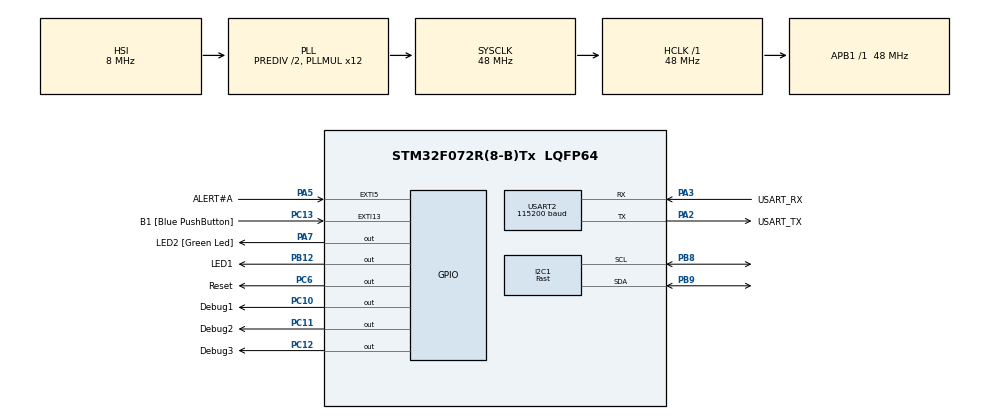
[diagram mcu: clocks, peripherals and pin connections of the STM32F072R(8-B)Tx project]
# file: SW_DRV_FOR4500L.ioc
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Dma.I2C1_RX.1.Direction=DMA_PERIPH_TO_MEMORY
Dma.I2C1_RX.1.Instance=DMA1_Channel3
Dma.I2C1_RX.1.MemDataAlignment=DMA_MDATAALIGN_BYTE
Dma.I2C1_RX.1.MemInc=DMA_MINC_ENABLE
Dma.I2C1_RX.1.Mode=DMA_NORMAL
Dma.I2C1_RX.1.PeriphDataAlignment=DMA_PDATAALIGN_BYTE
Dma.I2C1_RX.1.PeriphInc=DMA_PINC_DISABLE
Dma.I2C1_RX.1.Priority=DMA_PRIORITY_LOW
Dma.I2C1_TX.2.Direction=DMA_MEMORY_TO_PERIPH
Dma.I2C1_TX.2.Instance=DMA1_Channel2
Dma.I2C1_TX.2.MemDataAlignment=DMA_MDATAALIGN_BYTE
Dma.I2C1_TX.2.MemInc=DMA_MINC_ENABLE
Dma.I2C1_TX.2.Mode=DMA_NORMAL
Dma.I2C1_TX.2.PeriphDataAlignment=DMA_PDATAALIGN_BYTE
Dma.I2C1_TX.2.PeriphInc=DMA_PINC_DISABLE
Dma.I2C1_TX.2.Priority=DMA_PRIORITY_LOW
Dma.Request0=USART2_TX
Dma.Request1=I2C1_RX
Dma.Request2=I2C1_TX
Dma.USART2_TX.0.Direction=DMA_MEMORY_TO_PERIPH
Dma.USART2_TX.0.Instance=DMA1_Channel4
Dma.USART2_TX.0.MemDataAlignment=DMA_MDATAALIGN_BYTE
Dma.USART2_TX.0.MemInc=DMA_MINC_ENABLE
Dma.USART2_TX.0.Mode=DMA_NORMAL
Dma.USART2_TX.0.PeriphDataAlignment=DMA_PDATAALIGN_BYTE
Dma.USART2_TX.0.PeriphInc=DMA_PINC_DISABLE
Dma.USART2_TX.0.Priority=DMA_PRIORITY_LOW
I2C1.I2C_Speed_Mode=I2C_Fast
I2C1.Timing=0x0000020B
Mcu.Family=STM32F0
Mcu.Name=STM32F072R(8-B)Tx
Mcu.Package=LQFP64
NVIC.DMA1_Channel2_3_IRQn=true\:1\:0\:true\:false\:true\:false\:true
NVIC.DMA1_Channel4_5_6_7_IRQn=true\:0\:0\:false\:false\:true\:true\:true
NVIC.EXTI4_15_IRQn=true\:2\:0\:true\:false\:true\:true\:true
NVIC.I2C1_IRQn=true\:0\:0\:false\:false\:true\:true\:true
NVIC.TIM1_BRK_UP_TRG_COM_IRQn=true\:0\:0\:false\:false\:true\:true\:true
NVIC.TimeBase=TIM1_BRK_UP_TRG_COM_IRQn
NVIC.TimeBaseIP=TIM1
NVIC.USART2_IRQn=true\:0\:0\:false\:false\:true\:true\:true
PA13.GPIO_Label=TMS
PA13.Mode=Serial_Wire
PA13.Signal=SYS_SWDIO
PA14.GPIO_Label=TCK
PA14.Mode=Serial_Wire
PA14.Signal=SYS_SWCLK
PA2.GPIO_Label=USART_TX
PA2.GPIO_Mode=GPIO_MODE_AF_PP
PA2.GPIO_PuPd=GPIO_NOPULL
PA2.GPIO_Speed=GPIO_SPEED_FREQ_LOW
PA2.Mode=Asynchronous
PA2.Signal=USART2_TX
PA3.GPIO_Label=USART_RX
PA3.GPIO_Mode=GPIO_MODE_AF_PP
PA3.GPIO_PuPd=GPIO_NOPULL
PA3.GPIO_Speed=GPIO_SPEED_FREQ_LOW
PA3.Mode=Asynchronous
PA3.Signal=USART2_RX
PA5.GPIO_Label=ALERT\#A
PA5.GPIO_ModeDefaultEXTI=GPIO_MODE_IT_FALLING
PA5.GPIO_PuPd=GPIO_PULLUP
PA5.Signal=GPXTI5
PA7.GPIO_Label=LED2 [Green Led]
PA7.GPIO_ModeDefaultOutputPP=GPIO_MODE_OUTPUT_PP
PA7.GPIO_PuPd=GPIO_NOPULL
PA7.GPIO_Speed=GPIO_SPEED_FREQ_LOW
PA7.Signal=GPIO_Output
PB12.GPIO_Label=LED1
PB12.Signal=GPIO_Output
PB8.GPIO_FM8=__NULL
PB8.GPIO_PuPdOD=GPIO_PULLUP
PB8.GPIO_Speed=GPIO_SPEED_FREQ_MEDIUM
PB8.Mode=I2C
PB8.Signal=I2C1_SCL
PB9.GPIO_FM9=__NULL
PB9.GPIO_Speed=GPIO_SPEED_FREQ_MEDIUM
PB9.Mode=I2C
PB9.Signal=I2C1_SDA
PC10.GPIO_Label=Debug1
PC10.Signal=GPIO_Output
PC11.GPIO_Label=Debug2
PC11.Signal=GPIO_Output
PC12.GPIO_Label=Debug3
PC12.Signal=GPIO_Output
PC13.GPIO_Label=B1 [Blue PushButton]
PC13.GPIO_ModeDefaultEXTI=GPIO_MODE_IT_FALLING
PC13.GPIO_PuPd=GPIO_NOPULL
PC13.Signal=GPXTI13
PC14-OSC32_IN.Signal=RCC_OSC32_IN
PC15-OSC32_OUT.Signal=RCC_OSC32_OUT
PC6.GPIO_Label=Reset
PC6.Signal=GPIO_Output
PF0-OSC_IN.Signal=RCC_OSC_IN
PF1-OSC_OUT.Signal=RCC_OSC_OUT
ProjectManager.HeapSize=0x200
ProjectManager.StackSize=0x400
ProjectManager.TargetToolchain=EWARM V7
RCC.AHBFreq_Value=48000000
RCC.APB1Freq_Value=48000000
RCC.APB1TimFreq_Value=48000000
RCC.FLatency-AdvancedSettings=FLASH_LATENCY_1
RCC.HCLKFreq_Value=48000000
RCC.PLLDivider=RCC_PREDIV_DIV2
RCC.PLLMUL=RCC_PLL_MUL12
RCC.SYSCLKFreq_VALUE=48000000
RCC.SYSCLKSource=RCC_SYSCLKSOURCE_PLLCLK
USART2.BaudRate=115200
USART2.VirtualMode-Asynchronous=VM_ASYNC
USART2.WordLength=WORDLENGTH_8B
VP_SYS_VS_tim1.Mode=TIM1
board=NUCLEO-F072RB

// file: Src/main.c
/* USER CODE BEGIN Header */
/**
******************************************************************************
* @file           : main.c
* @brief          : Main program body
******************************************************************************
* @attention
*
* <h2><center>&copy; Copyright (c) 2019 STMicroelectronics.
* All rights reserved.</center></h2>
*
* This software component is licensed by ST under BSD 3-Clause license,
* the "License"; You may not use this file except in compliance with the
* License. You may obtain a copy of the License at:
*                        opensource.org/licenses/BSD-3-Clause
*
******************************************************************************
*/
/* USER CODE END Header */

#include "main.h"
#include "dma.h"
#include "i2c.h"
#include "usart.h"
#include "gpio.h"

/* USER CODE BEGIN Includes */
#include <string.h>
#include "USB_PD_core.h"

/* USER CODE END Includes */

/* USER CODE BEGIN PV */
I2C_HandleTypeDef *hi2c[I2CBUS_MAX];
unsigned int Address;
unsigned int AddressSize = I2C_MEMADD_SIZE_8BIT;
uint8_t Buffer[12];
USB_PD_I2C_PORT STUSB45DeviceConf[USBPORT_MAX];
extern uint32_t ConnectionStamp[];
uint32_t timer_cnt = 0;
int Flag_count = 0;
int PB_press=0;
int Time_elapse=1;
extern uint8_t Cut[USBPORT_MAX];
uint8_t USB_PD_Interupt_Flag[USBPORT_MAX] ;
uint8_t USB_PD_Interupt_PostponedFlag[USBPORT_MAX] ;
uint8_t push_button_Action_Flag[USBPORT_MAX];
uint8_t Timer_Action_Flag[USBPORT_MAX];
uint8_t flag_once=1;
extern USB_PD_StatusTypeDef PD_status[USBPORT_MAX] ;

void SystemClock_Config(void);
/* USER CODE BEGIN PFP */
/* Private function prototypes -----------------------------------------------*/
void push_button_Action(void);
extern void nvm_flash(uint8_t Usb_Port);

/* USER CODE END PFP */

int main(void)
{
  /* USER CODE BEGIN 1 */

  int Usb_Port = 0;
  int Status;
  /* USER CODE END 1 */

  /* MCU Configuration--------------------------------------------------------*/

  /* Reset of all peripherals, Initializes the Flash interface and the Systick. */
  HAL_Init();

  /* Configure the system clock */
  SystemClock_Config();

  /* Initialize all configured peripherals */
  MX_GPIO_Init();
  MX_DMA_Init();
  MX_I2C1_Init();
  MX_USART2_UART_Init();
  /* USER CODE BEGIN 2 */
  hi2c[0]= &hi2c1;
  STUSB45DeviceConf[Usb_Port].I2cBus = Usb_Port;
  STUSB45DeviceConf[Usb_Port].I2cDeviceID_7bit = 0x28;
  AddressSize = I2C_MEMADD_SIZE_8BIT;

  USB_PD_Interupt_PostponedFlag[0]= 0; /* this flag is 1 if I2C is busy when Alert signal raise */
  USB_PD_Interupt_Flag[Usb_Port] = 1;

  usb_pd_init(Usb_Port);   // after this USBPD alert line must be high

  push_button_Action_Flag[Usb_Port]=0;
  flag_once =1;
  /* USER CODE END 2 */

  /* Infinite loop */
  while (1)
  {
    /* USER CODE BEGIN 3 */
    if( push_button_Action_Flag[Usb_Port] == 1  )
      push_button_Action();
    if( Timer_Action_Flag[Usb_Port] == 1  )
      Timer_Action();
    if(USB_PD_Interupt_Flag[Usb_Port] != 1)
    {

      if ( flag_once == 1)
      {

        if(PD_status[Usb_Port].Port_Status.b.CC_ATTACH_STATE  !=0)
        {
          int timeout = HAL_GetTick( );
          if ( (timeout - ConnectionStamp[Usb_Port]) > 16 )  /* the CC status is correctly updated after Tcc debounce */
          {
          Print_Type_C_Only_Status(Usb_Port);
          flag_once = 0 ;
          }
        }
        else
        {
#ifdef PRINTF
    printf(" \r\n---- Usb_Port #%i: CONNECTION STATUS   ----------",Usb_Port);
    printf(" \r\n - DETACHED  ");
#endif
          flag_once = 0 ;
        }
      }
    }
  }
  /* USER CODE END 3 */
}

void SystemClock_Config(void)
{
  RCC_OscInitTypeDef RCC_OscInitStruct = {0};
  RCC_ClkInitTypeDef RCC_ClkInitStruct = {0};
  RCC_PeriphCLKInitTypeDef PeriphClkInit = {0};

  /** Initializes the CPU, AHB and APB busses clocks
  */
  RCC_OscInitStruct.OscillatorType = RCC_OSCILLATORTYPE_HSI;
  RCC_OscInitStruct.HSIState = RCC_HSI_ON;
  RCC_OscInitStruct.HSICalibrationValue = RCC_HSICALIBRATION_DEFAULT;
  RCC_OscInitStruct.PLL.PLLState = RCC_PLL_ON;
  RCC_OscInitStruct.PLL.PLLSource = RCC_PLLSOURCE_HSI;
  RCC_OscInitStruct.PLL.PLLMUL = RCC_PLL_MUL12;
  RCC_OscInitStruct.PLL.PREDIV = RCC_PREDIV_DIV2;
  if (HAL_RCC_OscConfig(&RCC_OscInitStruct) != HAL_OK)
  {
    Error_Handler();
  }
  /** Initializes the CPU, AHB and APB busses clocks
  */
  RCC_ClkInitStruct.ClockType = RCC_CLOCKTYPE_HCLK|RCC_CLOCKTYPE_SYSCLK
    |RCC_CLOCKTYPE_PCLK1;
  RCC_ClkInitStruct.SYSCLKSource = RCC_SYSCLKSOURCE_PLLCLK;
  RCC_ClkInitStruct.AHBCLKDivider = RCC_SYSCLK_DIV1;
  RCC_ClkInitStruct.APB1CLKDivider = RCC_HCLK_DIV1;

  if (HAL_RCC_ClockConfig(&RCC_ClkInitStruct, FLASH_LATENCY_1) != HAL_OK)
  {
    Error_Handler();
  }
  PeriphClkInit.PeriphClockSelection = RCC_PERIPHCLK_USART2|RCC_PERIPHCLK_I2C1;
  PeriphClkInit.Usart2ClockSelection = RCC_USART2CLKSOURCE_PCLK1;
  PeriphClkInit.I2c1ClockSelection = RCC_I2C1CLKSOURCE_HSI;
  if (HAL_RCCEx_PeriphCLKConfig(&PeriphClkInit) != HAL_OK)
  {
    Error_Handler();
  }
}

/* USER CODE BEGIN 4 */
/**
* @brief  EXTI line detection callback.
* @param  GPIO_Pin Specifies the port pin connected to corresponding EXTI line.
* @retval None
*/
void HAL_GPIO_EXTI_Callback(uint16_t GPIO_Pin)
{
  int Usb_Port = 0;
  switch(GPIO_Pin)
  {

  case ( ALERT_A_Pin)://B1_Pin
    {

      if((hi2c[0])->Lock == HAL_UNLOCKED)
      {
        ALARM_MANAGEMENT(Usb_Port);
      }
      else USB_PD_Interupt_Flag[Usb_Port] = 1;
    }
    break;

    // SELECT HERE WHICH function must be attached to the BLUE push button
  case ( B1_Pin)://B1_Pin
    {
      push_button_Action_Flag[Usb_Port] = 1 ;
      PB_press ++ ;
    }
    break;
  }
}
void push_button_Action(void)
{
  uint8_t Usb_Port = 0;
#ifdef PRINTF
  printf("\r\n - Push button ");
#endif
  switch (PB_press%2)  /*  */
  {
  case 0:     /* */
    flag_once = 1 ; /* to print CC status*/
    break ;
  default :

    break;
  }
  push_button_Action_Flag[Usb_Port] = 0 ;
}

void Timer_Action(void)
{
  int Usb_Port = 0;

  if (PB_press == 0 )
  {
    Time_elapse ++ ;
  }
  else  if(PB_press == 1 )
  {
#ifdef PRINTF
    printf("\r\n--- Timer Action ---\r\n");
#endif

    switch(Time_elapse )
    {
    case 1 :
      {
        SW_reset_by_Reg(0);
#ifdef PRINTF
        printf(" STUSB4500L  Reset by register \r\n");
#endif
        if (Flag_count)
          Time_elapse ++ ;
        else
          Time_elapse -- ;
      } break;
      case 0 :
        {
        HW_Reset_state(0);
        /*update PDO num to 1 then Reset */
#ifdef PRINTF
        printf(" STUSB4500L  Reset by GPIO \r\n");
#endif
        if (Flag_count)
          Time_elapse ++ ;
        else
          Time_elapse -- ;
      }
    break;
    default :
      Time_elapse = 1;
      break;
    }

    if ( Time_elapse == 1)
      Flag_count = 1 ;
    if ( Time_elapse == 1)
      Flag_count = 0 ;
  }
  Timer_Action_Flag[Usb_Port] = 0 ;
}

/* USER CODE END 4 */

void HAL_TIM_PeriodElapsedCallback(TIM_HandleTypeDef *htim)
{
  /* USER CODE BEGIN Callback 0 */
  int Usb_Port=0;
  /* USER CODE END Callback 0 */
  if (htim->Instance == TIM1) {
    HAL_IncTick();
  }
  /* USER CODE BEGIN Callback 1 */
  if (PD_status[Usb_Port].Port_Status.b.CC_ATTACH_STATE != 0)
  {
    timer_cnt ++ ;

    if (timer_cnt == 5000)
    {
      Timer_Action_Flag[0] = 1;
      timer_cnt = 0;
    }
  }
  /* USER CODE END Callback 1 */
}

void Error_Handler(void)
{
}

/************************ (C) COPYRIGHT STMicroelectronics *****END OF FILE****/
